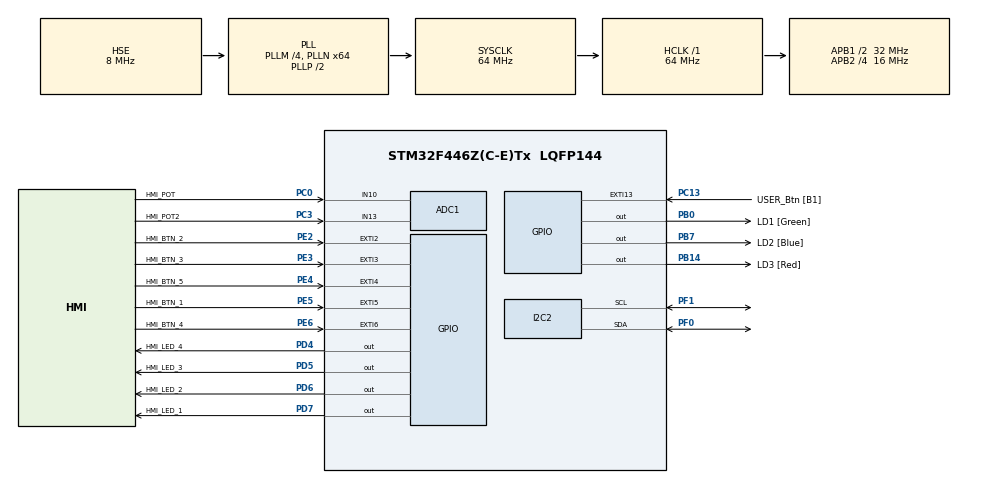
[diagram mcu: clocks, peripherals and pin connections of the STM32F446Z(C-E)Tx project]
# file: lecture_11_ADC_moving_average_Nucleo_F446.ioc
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ADC1.Channel-0\#ChannelRegularConversion=ADC_CHANNEL_10
ADC1.NbrOfConversionFlag=1
ADC1.Rank-0\#ChannelRegularConversion=1
ADC1.SamplingTime-0\#ChannelRegularConversion=ADC_SAMPLETIME_3CYCLES
ADC1.master=1
Mcu.Family=STM32F4
Mcu.Name=STM32F446Z(C-E)Tx
Mcu.Package=LQFP144
NVIC.EXTI15_10_IRQn=true\:0\:0\:false\:false\:true\:true\:true\:true
NVIC.EXTI2_IRQn=true\:0\:0\:false\:false\:true\:true\:true\:true
NVIC.EXTI3_IRQn=true\:0\:0\:false\:false\:true\:true\:true\:true
NVIC.EXTI4_IRQn=true\:0\:0\:false\:false\:true\:true\:true\:true
NVIC.EXTI9_5_IRQn=true\:0\:0\:false\:false\:true\:true\:true\:true
NVIC.PriorityGroup=NVIC_PRIORITYGROUP_4
PA13.Mode=Serial_Wire
PA13.Signal=SYS_JTMS-SWDIO
PA14.Mode=Serial_Wire
PA14.Signal=SYS_JTCK-SWCLK
PB0.GPIO_Label=LD1 [Green]
PB0.Signal=GPIO_Output
PB14.GPIO_Label=LD3 [Red]
PB14.Signal=GPIO_Output
PB7.GPIO_Label=LD2 [Blue]
PB7.Signal=GPIO_Output
PC0.GPIO_Label=HMI_POT
PC0.Signal=ADCx_IN10
PC13.GPIO_Label=USER_Btn [B1]
PC13.Signal=GPXTI13
PC14-OSC32_IN.Mode=LSE-External-Oscillator
PC14-OSC32_IN.Signal=RCC_OSC32_IN
PC15-OSC32_OUT.Mode=LSE-External-Oscillator
PC15-OSC32_OUT.Signal=RCC_OSC32_OUT
PC3.GPIO_Label=HMI_POT2
PC3.Signal=ADCx_IN13
PD4.GPIO_Label=HMI_LED_4
PD4.GPIO_ModeDefaultOutputPP=GPIO_MODE_OUTPUT_PP
PD4.GPIO_PuPd=GPIO_NOPULL
PD4.GPIO_Speed=GPIO_SPEED_FREQ_LOW
PD4.PinState=GPIO_PIN_RESET
PD4.Signal=GPIO_Output
PD5.GPIO_Label=HMI_LED_3
PD5.GPIO_ModeDefaultOutputPP=GPIO_MODE_OUTPUT_PP
PD5.GPIO_PuPd=GPIO_NOPULL
PD5.GPIO_Speed=GPIO_SPEED_FREQ_LOW
PD5.PinState=GPIO_PIN_RESET
PD5.Signal=GPIO_Output
PD6.GPIO_Label=HMI_LED_2
PD6.GPIO_ModeDefaultOutputPP=GPIO_MODE_OUTPUT_PP
PD6.GPIO_PuPd=GPIO_NOPULL
PD6.GPIO_Speed=GPIO_SPEED_FREQ_LOW
PD6.PinState=GPIO_PIN_RESET
PD6.Signal=GPIO_Output
PD7.GPIO_Label=HMI_LED_1
PD7.GPIO_ModeDefaultOutputPP=GPIO_MODE_OUTPUT_PP
PD7.GPIO_PuPd=GPIO_NOPULL
PD7.GPIO_Speed=GPIO_SPEED_FREQ_LOW
PD7.PinState=GPIO_PIN_RESET
PD7.Signal=GPIO_Output
PE2.GPIO_Label=HMI_BTN_2
PE2.GPIO_ModeDefaultEXTI=GPIO_MODE_IT_RISING_FALLING
PE2.Signal=GPXTI2
PE3.GPIO_Label=HMI_BTN_3
PE3.GPIO_ModeDefaultEXTI=GPIO_MODE_IT_RISING_FALLING
PE3.Signal=GPXTI3
PE4.GPIO_Label=HMI_BTN_5
PE4.GPIO_ModeDefaultEXTI=GPIO_MODE_IT_RISING_FALLING
PE4.Signal=GPXTI4
PE5.GPIO_Label=HMI_BTN_1
PE5.GPIO_ModeDefaultEXTI=GPIO_MODE_IT_RISING_FALLING
PE5.Signal=GPXTI5
PE6.GPIO_Label=HMI_BTN_4
PE6.GPIO_ModeDefaultEXTI=GPIO_MODE_IT_RISING_FALLING
PE6.Signal=GPXTI6
PF0.Mode=I2C
PF0.Signal=I2C2_SDA
PF1.Mode=I2C
PF1.Signal=I2C2_SCL
PH0-OSC_IN.Mode=HSE-External-Clock-Source
PH0-OSC_IN.Signal=RCC_OSC_IN
PH1-OSC_OUT.Mode=HSE-External-Clock-Source
PH1-OSC_OUT.Signal=RCC_OSC_OUT
ProjectManager.HeapSize=0x200
ProjectManager.StackSize=0x400
ProjectManager.TargetToolchain=STM32CubeIDE
RCC.48MHZClocksFreq_Value=24000000
RCC.AHBFreq_Value=64000000
RCC.APB1CLKDivider=RCC_HCLK_DIV2
RCC.APB1Freq_Value=32000000
RCC.APB1TimFreq_Value=64000000
RCC.APB2CLKDivider=RCC_HCLK_DIV4
RCC.APB2Freq_Value=16000000
RCC.APB2TimFreq_Value=32000000
RCC.CortexFreq_Value=64000000
RCC.HCLKFreq_Value=64000000
RCC.HSE_VALUE=8000000
RCC.HSI_VALUE=16000000
RCC.PLLM=4
RCC.PLLMUL=RCC_PLL_MUL9
RCC.PLLN=64
RCC.PLLQ=7
RCC.PLLSourceVirtual=RCC_PLLSOURCE_HSE
RCC.PRESCALERUSB=RCC_USBCLKSOURCE_PLL_DIV1_5
RCC.SYSCLKFreq_VALUE=64000000
RCC.SYSCLKSource=RCC_SYSCLKSOURCE_PLLCLK
RCC.SYSCLKSourceVirtual=RCC_SYSCLKSOURCE_PLLCLK
RCC.USBFreq_Value=18285714.285714287
RCC.VCOOutputFreq_Value=128000000
SH.ADCx_IN10.0=ADC1_IN10,IN10
SH.ADCx_IN13.0=ADC1_IN13,IN13
board=NUCLEO-F446ZE

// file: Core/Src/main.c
/* USER CODE BEGIN Header */
/**
  ******************************************************************************
  * @file           : main.c
  * @brief          : Main program body
  ******************************************************************************
  * @attention
  *
  * Copyright (c) 2024 STMicroelectronics.
  * All rights reserved.
  *
  * This software is licensed under terms that can be found in the LICENSE file
  * in the root directory of this software component.
  * If no LICENSE file comes with this software, it is provided AS-IS.
  *
  ******************************************************************************
  */
/* USER CODE END Header */
#include "main.h"
#include "adc.h"
#include "i2c.h"
#include "gpio.h"

/* USER CODE BEGIN Includes */
#include "OLED.h"
#include "stdio.h"
/* USER CODE END Includes */

/* USER CODE BEGIN PV */
uint32_t adc;
/* USER CODE END PV */

void SystemClock_Config(void);

int main(void)
{

  /* MCU Configuration--------------------------------------------------------*/
  HAL_Init();

  /* Configure the system clock */
  SystemClock_Config();

  /* Initialize all configured peripherals */
  MX_GPIO_Init();
  MX_ADC1_Init();
  MX_I2C2_Init();

  /* USER CODE BEGIN 2 */
  OLED_Init();

  char adc_char[11];
  uint32_t adc_avg[25] = {};
  uint8_t p_avg_cnt = 0;
  uint32_t avg = 0;
  uint16_t line_len;
  uint16_t y_center;
  /* USER CODE END 2 */

  /* Infinite loop */
  /* USER CODE WHILE 1 */
  while (1)
  {
    /* USER CODE END WHILE */

    /* USER CODE BEGIN 3 */

    /* Start the conversion in blocking mode */
    HAL_ADC_Start(&hadc1);

    if (HAL_ADC_PollForConversion(&hadc1, 10) == HAL_OK)
    {
      adc = HAL_ADC_GetValue(&hadc1);

      if (p_avg_cnt == 25)
        p_avg_cnt = 0;

      adc_avg[p_avg_cnt] = adc;
      p_avg_cnt++;

      avg = 0;
      for (uint8_t i = 0; i < 25; i++)
        avg += adc_avg[i];
      avg = avg / 25;
    }

    /* Map the 12-bit ADC value (0..4095) to the display width (0..127) */
    line_len = (uint16_t)((avg * (OLED_WIDTH - 1)) / 4095);
    y_center = OLED_HEIGHT / 2;

    OLED_Fill(Black);

    /* Main line: length follows the pot position (3px thick for visibility) */
    OLED_Line(0, y_center - 1, line_len, y_center - 1, White);
    OLED_Line(0, y_center,     line_len, y_center,     White);
    OLED_Line(0, y_center + 1, line_len, y_center + 1, White);

    /* End cap/marker at the tip of the line */
    OLED_Line(line_len - 1, y_center - 2, line_len + 1, y_center - 2, White);
    OLED_Line(line_len - 1, y_center + 2, line_len + 1, y_center + 2, White);

    /* Show raw ADC value at bottom-left */
    sprintf(adc_char, "%lu", (unsigned long)avg);
    OLED_SetCursor(2, OLED_HEIGHT - 20);
    OLED_WriteString(adc_char, Font_7x10, White);

    /* Show voltage at bottom-right */
    sprintf(adc_char, "%lumV", (unsigned long)(avg * 0.806f));
    OLED_SetCursor(OLED_WIDTH / 2 + 10, OLED_HEIGHT - 20);
    OLED_WriteString(adc_char, Font_7x10, White);

    OLED_UpdateScreen();

    HAL_Delay(25);

    /* USER CODE END 3 */
  }
  /* USER CODE END 3 */
}
/* MAIN FUNCTION CLOSING BRACE */

void SystemClock_Config(void)
{
  RCC_OscInitTypeDef RCC_OscInitStruct = {0};
  RCC_ClkInitTypeDef RCC_ClkInitStruct = {0};

  __HAL_RCC_PWR_CLK_ENABLE();
  __HAL_PWR_VOLTAGESCALING_CONFIG(PWR_REGULATOR_VOLTAGE_SCALE3);

  RCC_OscInitStruct.OscillatorType = RCC_OSCILLATORTYPE_HSE;
  RCC_OscInitStruct.HSEState = RCC_HSE_BYPASS;
  RCC_OscInitStruct.PLL.PLLState = RCC_PLL_ON;
  RCC_OscInitStruct.PLL.PLLSource = RCC_PLLSOURCE_HSE;
  RCC_OscInitStruct.PLL.PLLM = 4;
  RCC_OscInitStruct.PLL.PLLN = 64;
  RCC_OscInitStruct.PLL.PLLP = RCC_PLLP_DIV2;
  RCC_OscInitStruct.PLL.PLLQ = 7;
  RCC_OscInitStruct.PLL.PLLR = 2;
  if (HAL_RCC_OscConfig(&RCC_OscInitStruct) != HAL_OK)
  {
    Error_Handler();
  }

  RCC_ClkInitStruct.ClockType = RCC_CLOCKTYPE_HCLK|RCC_CLOCKTYPE_SYSCLK
                              |RCC_CLOCKTYPE_PCLK1|RCC_CLOCKTYPE_PCLK2;
  RCC_ClkInitStruct.SYSCLKSource = RCC_SYSCLKSOURCE_PLLCLK;
  RCC_ClkInitStruct.AHBCLKDivider = RCC_SYSCLK_DIV1;
  RCC_ClkInitStruct.APB1CLKDivider = RCC_HCLK_DIV2;
  RCC_ClkInitStruct.APB2CLKDivider = RCC_HCLK_DIV4;

  if (HAL_RCC_ClockConfig(&RCC_ClkInitStruct, FLASH_LATENCY_2) != HAL_OK)
  {
    Error_Handler();
  }
}

void Error_Handler(void)
{
  __disable_irq();
  while (1)
  {
  }
}
